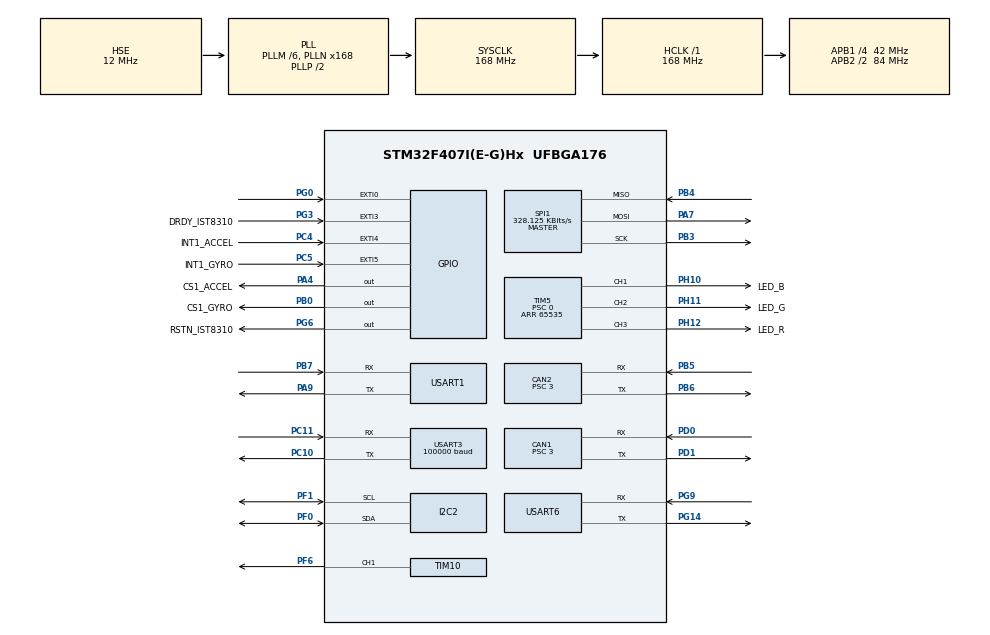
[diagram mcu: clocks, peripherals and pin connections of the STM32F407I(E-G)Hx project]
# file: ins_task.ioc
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CAN1.BS1=CAN_BS1_10TQ
CAN1.BS2=CAN_BS2_3TQ
CAN1.CalculateBaudRate=1000000
CAN1.CalculateTimeBit=1000
CAN1.CalculateTimeQuantum=71.42857142857143
CAN1.Prescaler=3
CAN2.BS1=CAN_BS1_10TQ
CAN2.BS2=CAN_BS2_3TQ
CAN2.CalculateBaudRate=1000000
CAN2.CalculateTimeBit=1000
CAN2.CalculateTimeQuantum=71.42857142857143
CAN2.Prescaler=3
Dma.Request0=SPI1_RX
Dma.Request1=SPI1_TX
Dma.Request2=USART3_RX
Dma.Request3=USART1_RX
Dma.Request4=USART1_TX
Dma.Request5=USART6_RX
Dma.Request6=USART6_TX
Dma.SPI1_RX.0.Direction=DMA_PERIPH_TO_MEMORY
Dma.SPI1_RX.0.FIFOMode=DMA_FIFOMODE_DISABLE
Dma.SPI1_RX.0.Instance=DMA2_Stream2
Dma.SPI1_RX.0.MemDataAlignment=DMA_MDATAALIGN_BYTE
Dma.SPI1_RX.0.MemInc=DMA_MINC_ENABLE
Dma.SPI1_RX.0.Mode=DMA_NORMAL
Dma.SPI1_RX.0.PeriphDataAlignment=DMA_PDATAALIGN_BYTE
Dma.SPI1_RX.0.PeriphInc=DMA_PINC_DISABLE
Dma.SPI1_RX.0.Priority=DMA_PRIORITY_VERY_HIGH
Dma.SPI1_TX.1.Direction=DMA_MEMORY_TO_PERIPH
Dma.SPI1_TX.1.FIFOMode=DMA_FIFOMODE_DISABLE
Dma.SPI1_TX.1.Instance=DMA2_Stream3
Dma.SPI1_TX.1.MemDataAlignment=DMA_MDATAALIGN_BYTE
Dma.SPI1_TX.1.MemInc=DMA_MINC_ENABLE
Dma.SPI1_TX.1.Mode=DMA_NORMAL
Dma.SPI1_TX.1.PeriphDataAlignment=DMA_PDATAALIGN_BYTE
Dma.SPI1_TX.1.PeriphInc=DMA_PINC_DISABLE
Dma.SPI1_TX.1.Priority=DMA_PRIORITY_HIGH
Dma.USART1_RX.3.Direction=DMA_PERIPH_TO_MEMORY
Dma.USART1_RX.3.FIFOMode=DMA_FIFOMODE_DISABLE
Dma.USART1_RX.3.Instance=DMA2_Stream5
Dma.USART1_RX.3.MemDataAlignment=DMA_MDATAALIGN_BYTE
Dma.USART1_RX.3.MemInc=DMA_MINC_ENABLE
Dma.USART1_RX.3.Mode=DMA_NORMAL
Dma.USART1_RX.3.PeriphDataAlignment=DMA_PDATAALIGN_BYTE
Dma.USART1_RX.3.PeriphInc=DMA_PINC_DISABLE
Dma.USART1_RX.3.Priority=DMA_PRIORITY_LOW
Dma.USART1_TX.4.Direction=DMA_MEMORY_TO_PERIPH
Dma.USART1_TX.4.FIFOMode=DMA_FIFOMODE_DISABLE
Dma.USART1_TX.4.Instance=DMA2_Stream7
Dma.USART1_TX.4.MemDataAlignment=DMA_MDATAALIGN_BYTE
Dma.USART1_TX.4.MemInc=DMA_MINC_ENABLE
Dma.USART1_TX.4.Mode=DMA_NORMAL
Dma.USART1_TX.4.PeriphDataAlignment=DMA_PDATAALIGN_BYTE
Dma.USART1_TX.4.PeriphInc=DMA_PINC_DISABLE
Dma.USART1_TX.4.Priority=DMA_PRIORITY_LOW
Dma.USART3_RX.2.Direction=DMA_PERIPH_TO_MEMORY
Dma.USART3_RX.2.FIFOMode=DMA_FIFOMODE_DISABLE
Dma.USART3_RX.2.Instance=DMA1_Stream1
Dma.USART3_RX.2.MemDataAlignment=DMA_MDATAALIGN_BYTE
Dma.USART3_RX.2.MemInc=DMA_MINC_ENABLE
Dma.USART3_RX.2.Mode=DMA_CIRCULAR
Dma.USART3_RX.2.PeriphDataAlignment=DMA_PDATAALIGN_BYTE
Dma.USART3_RX.2.PeriphInc=DMA_PINC_DISABLE
Dma.USART3_RX.2.Priority=DMA_PRIORITY_VERY_HIGH
Dma.USART6_RX.5.Direction=DMA_PERIPH_TO_MEMORY
Dma.USART6_RX.5.FIFOMode=DMA_FIFOMODE_DISABLE
Dma.USART6_RX.5.Instance=DMA2_Stream1
Dma.USART6_RX.5.MemDataAlignment=DMA_MDATAALIGN_BYTE
Dma.USART6_RX.5.MemInc=DMA_MINC_ENABLE
Dma.USART6_RX.5.Mode=DMA_NORMAL
Dma.USART6_RX.5.PeriphDataAlignment=DMA_PDATAALIGN_BYTE
Dma.USART6_RX.5.PeriphInc=DMA_PINC_DISABLE
Dma.USART6_RX.5.Priority=DMA_PRIORITY_LOW
Dma.USART6_TX.6.Direction=DMA_MEMORY_TO_PERIPH
Dma.USART6_TX.6.FIFOMode=DMA_FIFOMODE_DISABLE
Dma.USART6_TX.6.Instance=DMA2_Stream6
Dma.USART6_TX.6.MemDataAlignment=DMA_MDATAALIGN_BYTE
Dma.USART6_TX.6.MemInc=DMA_MINC_ENABLE
Dma.USART6_TX.6.Mode=DMA_NORMAL
Dma.USART6_TX.6.PeriphDataAlignment=DMA_PDATAALIGN_BYTE
Dma.USART6_TX.6.PeriphInc=DMA_PINC_DISABLE
Dma.USART6_TX.6.Priority=DMA_PRIORITY_LOW
FREERTOS.INCLUDE_eTaskGetState=1
FREERTOS.INCLUDE_pcTaskGetTaskName=1
FREERTOS.INCLUDE_uxTaskGetStackHighWaterMark=1
FREERTOS.INCLUDE_vTaskCleanUpResources=1
FREERTOS.INCLUDE_vTaskDelayUntil=1
FREERTOS.INCLUDE_xEventGroupSetBitFromISR=1
FREERTOS.INCLUDE_xQueueGetMutexHolder=1
FREERTOS.INCLUDE_xSemaphoreGetMutexHolder=1
FREERTOS.INCLUDE_xTaskAbortDelay=1
FREERTOS.INCLUDE_xTaskGetCurrentTaskHandle=1
FREERTOS.INCLUDE_xTaskGetHandle=1
FREERTOS.INCLUDE_xTimerPendFunctionCall=1
FREERTOS.Tasks01=test,24,128,test_task,As weak,NULL,Dynamic,NULL,NULL
FREERTOS.configTOTAL_HEAP_SIZE=24576
I2C2.I2C_Mode=I2C_Fast
Mcu.Family=STM32F4
Mcu.Name=STM32F407I(E-G)Hx
Mcu.Package=UFBGA176
NVIC.CAN1_RX0_IRQn=true\:5\:0\:false\:false\:true\:true\:true\:true\:true
NVIC.CAN2_RX0_IRQn=true\:5\:0\:false\:false\:true\:true\:true\:true\:true
NVIC.DMA1_Stream1_IRQn=true\:5\:0\:false\:false\:true\:true\:false\:true\:true
NVIC.DMA2_Stream1_IRQn=true\:5\:0\:false\:false\:true\:true\:false\:true\:true
NVIC.DMA2_Stream2_IRQn=true\:5\:0\:true\:false\:false\:true\:false\:true\:true
NVIC.DMA2_Stream3_IRQn=true\:5\:0\:true\:false\:false\:true\:false\:true\:true
NVIC.DMA2_Stream5_IRQn=true\:5\:0\:false\:false\:true\:true\:false\:true\:true
NVIC.DMA2_Stream6_IRQn=true\:5\:0\:false\:false\:true\:true\:false\:true\:true
NVIC.DMA2_Stream7_IRQn=true\:5\:0\:false\:false\:true\:true\:false\:true\:true
NVIC.EXTI0_IRQn=true\:6\:0\:true\:false\:true\:true\:true\:true\:true
NVIC.EXTI3_IRQn=true\:5\:0\:true\:false\:true\:true\:true\:true\:true
NVIC.EXTI4_IRQn=true\:5\:0\:true\:false\:true\:true\:true\:true\:true
NVIC.EXTI9_5_IRQn=true\:5\:0\:true\:false\:true\:true\:true\:true\:true
NVIC.PriorityGroup=NVIC_PRIORITYGROUP_4
NVIC.USART1_IRQn=true\:5\:0\:false\:false\:true\:true\:true\:true\:true
NVIC.USART3_IRQn=true\:5\:0\:false\:false\:true\:true\:true\:true\:true
NVIC.USART6_IRQn=true\:5\:0\:false\:false\:true\:true\:true\:true\:true
PA13.Mode=Serial_Wire
PA13.Signal=SYS_JTMS-SWDIO
PA14.Mode=Serial_Wire
PA14.Signal=SYS_JTCK-SWCLK
PA4.GPIO_Label=CS1_ACCEL
PA4.GPIO_PuPd=GPIO_PULLUP
PA4.GPIO_Speed=GPIO_SPEED_FREQ_HIGH
PA4.PinState=GPIO_PIN_SET
PA4.Signal=GPIO_Output
PA7.GPIO_PuPd=GPIO_PULLUP
PA7.Mode=Full_Duplex_Master
PA7.Signal=SPI1_MOSI
PA9.Mode=Asynchronous
PA9.Signal=USART1_TX
PB0.GPIO_Label=CS1_GYRO
PB0.GPIO_PuPd=GPIO_PULLUP
PB0.GPIO_Speed=GPIO_SPEED_FREQ_HIGH
PB0.PinState=GPIO_PIN_SET
PB0.Signal=GPIO_Output
PB3.GPIO_PuPd=GPIO_PULLUP
PB3.Mode=Full_Duplex_Master
PB3.Signal=SPI1_SCK
PB4.GPIO_PuPd=GPIO_PULLUP
PB4.Mode=Full_Duplex_Master
PB4.Signal=SPI1_MISO
PB5.Mode=CAN_Activate
PB5.Signal=CAN2_RX
PB6.Mode=CAN_Activate
PB6.Signal=CAN2_TX
PB7.Mode=Asynchronous
PB7.Signal=USART1_RX
PC10.Mode=Asynchronous
PC10.Signal=USART3_TX
PC11.Mode=Asynchronous
PC11.Signal=USART3_RX
PC4.GPIO_Label=INT1_ACCEL
PC4.GPIO_ModeDefaultEXTI=GPIO_MODE_IT_FALLING
PC4.GPIO_PuPd=GPIO_PULLUP
PC4.Signal=GPXTI4
PC5.GPIO_Label=INT1_GYRO
PC5.GPIO_ModeDefaultEXTI=GPIO_MODE_IT_FALLING
PC5.GPIO_PuPd=GPIO_PULLUP
PC5.Signal=GPXTI5
PC9.GPIO_Pu=GPIO_PULLUP
PC9.Signal=I2C3_SDA
PD0.Mode=CAN_Activate
PD0.Signal=CAN1_RX
PD1.Mode=CAN_Activate
PD1.Signal=CAN1_TX
PF0.Mode=I2C
PF0.Signal=I2C2_SDA
PF1.Mode=I2C
PF1.Signal=I2C2_SCL
PF6.GPIO_PuPd=GPIO_PULLUP
PF6.GPIO_Speed=GPIO_SPEED_FREQ_HIGH
PF6.Signal=S_TIM10_CH1
PG0.GPIO_ModeDefaultEXTI=GPIO_MODE_IT_FALLING
PG0.GPIO_PuPd=GPIO_PULLUP
PG0.Signal=GPXTI0
PG14.Mode=Asynchronous
PG14.Signal=USART6_TX
PG3.GPIO_Label=DRDY_IST8310
PG3.GPIO_ModeDefaultEXTI=GPIO_MODE_IT_FALLING
PG3.GPIO_PuPd=GPIO_PULLUP
PG3.Signal=GPXTI3
PG6.GPIO_Label=RSTN_IST8310
PG6.GPIO_PuPd=GPIO_PULLUP
PG6.GPIO_Speed=GPIO_SPEED_FREQ_MEDIUM
PG6.PinState=GPIO_PIN_SET
PG6.Signal=GPIO_Output
PG9.Mode=Asynchronous
PG9.Signal=USART6_RX
PH0-OSC_IN.Mode=HSE-External-Oscillator
PH0-OSC_IN.Signal=RCC_OSC_IN
PH1-OSC_OUT.Mode=HSE-External-Oscillator
PH1-OSC_OUT.Signal=RCC_OSC_OUT
PH10.GPIO_Label=LED_B
PH10.GPIO_PuPd=GPIO_PULLUP
PH10.GPIO_Speed=GPIO_SPEED_FREQ_HIGH
PH10.Signal=S_TIM5_CH1
PH11.GPIO_Label=LED_G
PH11.GPIO_PuPd=GPIO_PULLUP
PH11.GPIO_Speed=GPIO_SPEED_FREQ_HIGH
PH11.Signal=S_TIM5_CH2
PH12.GPIO_Label=LED_R
PH12.GPIO_PuPd=GPIO_PULLUP
PH12.GPIO_Speed=GPIO_SPEED_FREQ_HIGH
PH12.Signal=S_TIM5_CH3
ProjectManager.HeapSize=0x2000
ProjectManager.StackSize=0x2000
ProjectManager.TargetToolchain=CMake
RCC.48MHZClocksFreq_Value=48000000
RCC.AHBFreq_Value=168000000
RCC.APB1CLKDivider=RCC_HCLK_DIV4
RCC.APB1Freq_Value=42000000
RCC.APB1TimFreq_Value=84000000
RCC.APB2CLKDivider=RCC_HCLK_DIV2
RCC.APB2Freq_Value=84000000
RCC.APB2TimFreq_Value=168000000
RCC.CortexFreq_Value=168000000
RCC.HCLKFreq_Value=168000000
RCC.HSE_VALUE=12000000
RCC.HSI_VALUE=16000000
RCC.LSE_VALUE=32768
RCC.PLLM=6
RCC.PLLN=168
RCC.PLLQ=7
RCC.PLLSourceVirtual=RCC_PLLSOURCE_HSE
RCC.RCC_RTC_Clock_SourceVirtual=RCC_RTCCLKSOURCE_HSE_DIV30
RCC.RCC_RTC_Clock_Source_FROM_HSE=RCC_RTCCLKSOURCE_HSE_DIV30
RCC.SYSCLKFreq_VALUE=168000000
RCC.SYSCLKSource=RCC_SYSCLKSOURCE_PLLCLK
RCC.VCOOutputFreq_Value=336000000
SH.S_TIM10_CH1.0=TIM10_CH1,PWM Generation1 CH1
SH.S_TIM5_CH1.0=TIM5_CH1,PWM Generation1 CH1
SH.S_TIM5_CH2.0=TIM5_CH2,PWM Generation2 CH2
SH.S_TIM5_CH3.0=TIM5_CH3,PWM Generation3 CH3
SPI1.BaudRatePrescaler=SPI_BAUDRATEPRESCALER_256
SPI1.CLKPhase=SPI_PHASE_2EDGE
SPI1.CLKPolarity=SPI_POLARITY_HIGH
SPI1.CalculateBaudRate=328.125 KBits/s
SPI1.Direction=SPI_DIRECTION_2LINES
SPI1.Mode=SPI_MODE_MASTER
SPI1.VirtualType=VM_MASTER
STMicroelectronics.X-CUBE-ALGOBUILD.1.4.0.LibraryCcDSPOoLibraryJjDSPOoLibrary=true
TIM10.Channel=TIM_CHANNEL_1
TIM10.Period=4999
TIM5.Channel-PWM\ Generation1\ CH1=TIM_CHANNEL_1
TIM5.Channel-PWM\ Generation2\ CH2=TIM_CHANNEL_2
TIM5.Channel-PWM\ Generation3\ CH3=TIM_CHANNEL_3
TIM5.Period=65535
TIM5.Prescaler=0
USART1.VirtualMode=VM_ASYNC
USART3.BaudRate=100000
USART3.Mode=MODE_RX
USART3.Parity=PARITY_EVEN
USART3.VirtualMode=VM_ASYNC
USART6.VirtualMode=VM_ASYNC
VP_FREERTOS_VS_CMSIS_V1.Mode=CMSIS_V1
VP_STMicroelectronics.X-CUBE-ALGOBUILD_VS_DSPOoLibraryJjLibrary_1.4.0_1.4.0.Mode=DSPOoLibraryJjLibrary
VP_TIM10_VS_ClockSourceINT.Mode=Enable_Timer
VP_TIM5_VS_ClockSourceINT.Mode=Internal
board=custom

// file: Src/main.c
/* USER CODE BEGIN Header */
/**
  ******************************************************************************
  * @file           : main.c
  * @brief          : Main program body
  ******************************************************************************
  * @attention
  *
  * <h2><center>&copy; Copyright (c) 2019 STMicroelectronics.
  * All rights reserved.</center></h2>
  *
  * This software component is licensed by ST under Ultimate Liberty license
  * SLA0044, the "License"; You may not use this file except in compliance with
  * the License. You may obtain a copy of the License at:
  *                             www.st.com/SLA0044
  *
  ******************************************************************************
  */
/* USER CODE END Header */
#include "main.h"
#include "cmsis_os.h"
#include "can.h"
#include "dma.h"
#include "i2c.h"
#include "spi.h"
#include "tim.h"
#include "usart.h"
#include "gpio.h"

/* USER CODE BEGIN Includes */
#include "bsp_delay.h"
#include "../Inc/all_tou_h.h"
#include "remote_control.h"
#include "power_management/referee.h"
/* USER CODE END Includes */

void SystemClock_Config(void);
void MX_FREERTOS_Init(void);

int main(void)
{

  /* MCU Configuration--------------------------------------------------------*/

  /* Reset of all peripherals, Initializes the Flash interface and the Systick. */
  HAL_Init();

  /* Configure the system clock */
  SystemClock_Config();

  /* Initialize all configured peripherals */
  MX_GPIO_Init();
  MX_DMA_Init();
  MX_SPI1_Init();
  MX_TIM5_Init();
  MX_TIM10_Init();
  MX_USART6_UART_Init();
  MX_CAN1_Init();
  MX_CAN2_Init();
  MX_I2C2_Init();
  MX_USART3_UART_Init();
  MX_USART1_UART_Init();
  /* USER CODE BEGIN 2 */
  Referee_Init();
  // remote_control_init();
  can_filter_init();

    delay_init();
  /* USER CODE END 2 */

  /* Call init function for freertos objects (in cmsis_os2.c) */
  MX_FREERTOS_Init();

  /* Start scheduler */
  osKernelStart();

  /* We should never get here as control is now taken by the scheduler */

  /* Infinite loop */
  while (1)
  {

  }
}

void SystemClock_Config(void)
{
  RCC_OscInitTypeDef RCC_OscInitStruct = {0};
  RCC_ClkInitTypeDef RCC_ClkInitStruct = {0};

  /** Configure the main internal regulator output voltage
  */
  __HAL_RCC_PWR_CLK_ENABLE();
  __HAL_PWR_VOLTAGESCALING_CONFIG(PWR_REGULATOR_VOLTAGE_SCALE1);

  /** Initializes the RCC Oscillators according to the specified parameters
  * in the RCC_OscInitTypeDef structure.
  */
  RCC_OscInitStruct.OscillatorType = RCC_OSCILLATORTYPE_HSE;
  RCC_OscInitStruct.HSEState = RCC_HSE_ON;
  RCC_OscInitStruct.PLL.PLLState = RCC_PLL_ON;
  RCC_OscInitStruct.PLL.PLLSource = RCC_PLLSOURCE_HSE;
  RCC_OscInitStruct.PLL.PLLM = 6;
  RCC_OscInitStruct.PLL.PLLN = 168;
  RCC_OscInitStruct.PLL.PLLP = RCC_PLLP_DIV2;
  RCC_OscInitStruct.PLL.PLLQ = 7;
  if (HAL_RCC_OscConfig(&RCC_OscInitStruct) != HAL_OK)
  {
    Error_Handler();
  }

  /** Initializes the CPU, AHB and APB buses clocks
  */
  RCC_ClkInitStruct.ClockType = RCC_CLOCKTYPE_HCLK|RCC_CLOCKTYPE_SYSCLK
                              |RCC_CLOCKTYPE_PCLK1|RCC_CLOCKTYPE_PCLK2;
  RCC_ClkInitStruct.SYSCLKSource = RCC_SYSCLKSOURCE_PLLCLK;
  RCC_ClkInitStruct.AHBCLKDivider = RCC_SYSCLK_DIV1;
  RCC_ClkInitStruct.APB1CLKDivider = RCC_HCLK_DIV4;
  RCC_ClkInitStruct.APB2CLKDivider = RCC_HCLK_DIV2;

  if (HAL_RCC_ClockConfig(&RCC_ClkInitStruct, FLASH_LATENCY_5) != HAL_OK)
  {
    Error_Handler();
  }
}

void Error_Handler(void)
{
}

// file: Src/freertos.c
/* USER CODE BEGIN Header */
/**
  ******************************************************************************
  * File Name          : freertos.c
  * Description        : Code for freertos applications
  ******************************************************************************
  * @attention
  *
  * <h2><center>&copy; Copyright (c) 2019 STMicroelectronics.
  * All rights reserved.</center></h2>
  *
  * This software component is licensed by ST under Ultimate Liberty license
  * SLA0044, the "License"; You may not use this file except in compliance with
  * the License. You may obtain a copy of the License at:
  *                             www.st.com/SLA0044
  *
  ******************************************************************************
  */
/* USER CODE END Header */

#include "FreeRTOS.h"
#include "task.h"
#include "main.h"
#include "cmsis_os.h"

/* USER CODE BEGIN Includes */

#include "chassis_task.h"
#include "INS_task.h"
#include "bmi088_date_send.h"
#include "gimbal_i6x_date.h"
#include "trigger_task.h"
#include "yaw_motor_task.h"
#include "yaw_motor/yaw_motor_task.h"
#include "rm_ui_protocol.h"
#include "CAN_receive.h"          // get_vtx_can2_point() -> 图传键鼠数据
#include "usart_printf_task.h"   // usart_printf()

/* USER CODE END Includes */

/* USER CODE BEGIN PTD */

osThreadId imuTaskHandle;
osThreadId led_RGB_flow_handle;

osThreadId send_taskHandle;
osThreadId chassisTaskHandle;
osThreadId GimbalI6xDateTaskHandle;
osThreadId gimbalImuDateTaskHandle;
osThreadId UiTaskHandle;
osThreadId Yaw_Motor_TaskTaskHandle;
osThreadId debugPrintTaskHandle;
/* USER CODE END PTD */

osThreadId testHandle;

void test_task(void const * argument);

void debug_print_task(void const * argument);

void MX_FREERTOS_Init(void); /* (MISRA C 2004 rule 8.1) */

/* GetIdleTaskMemory prototype (linked to static allocation support) */
void vApplicationGetIdleTaskMemory( StaticTask_t **ppxIdleTaskTCBBuffer, StackType_t **ppxIdleTaskStackBuffer, uint32_t *pulIdleTaskStackSize );

/* GetTimerTaskMemory prototype (linked to static allocation support) */
void vApplicationGetTimerTaskMemory( StaticTask_t **ppxTimerTaskTCBBuffer, StackType_t **ppxTimerTaskStackBuffer, uint32_t *pulTimerTaskStackSize );

/* USER CODE BEGIN GET_IDLE_TASK_MEMORY */
static StaticTask_t xIdleTaskTCBBuffer;
static StackType_t xIdleStack[configMINIMAL_STACK_SIZE];

void vApplicationGetIdleTaskMemory( StaticTask_t **ppxIdleTaskTCBBuffer, StackType_t **ppxIdleTaskStackBuffer, uint32_t *pulIdleTaskStackSize )
{
  *ppxIdleTaskTCBBuffer = &xIdleTaskTCBBuffer;
  *ppxIdleTaskStackBuffer = &xIdleStack[0];
  *pulIdleTaskStackSize = configMINIMAL_STACK_SIZE;
  /* place for user code */
}
/* USER CODE END GET_IDLE_TASK_MEMORY */

/* USER CODE BEGIN GET_TIMER_TASK_MEMORY */
static StaticTask_t xTimerTaskTCBBuffer;
static StackType_t xTimerStack[configTIMER_TASK_STACK_DEPTH];

void vApplicationGetTimerTaskMemory( StaticTask_t **ppxTimerTaskTCBBuffer, StackType_t **ppxTimerTaskStackBuffer, uint32_t *pulTimerTaskStackSize )
{
  *ppxTimerTaskTCBBuffer = &xTimerTaskTCBBuffer;
  *ppxTimerTaskStackBuffer = &xTimerStack[0];
  *pulTimerTaskStackSize = configTIMER_TASK_STACK_DEPTH;
  /* place for user code */
}
/* USER CODE END GET_TIMER_TASK_MEMORY */

void MX_FREERTOS_Init(void) {

  /* Create the thread(s) */
  /* definition and creation of test */
  // osThreadDef(test, test_task, osPriorityNormal, 0, 128);
  // testHandle = osThreadCreate(osThread(test), NULL);

  /* USER CODE BEGIN RTOS_THREADS */
  /* add threads, ... */
  osThreadDef(imuTask, INS_task, osPriorityNormal  , 0, 1024);
  imuTaskHandle = osThreadCreate(osThread(imuTask), NULL);

  osThreadDef(ChassisTask, chassis_task, osPriorityNormal , 0, 1024);
  chassisTaskHandle = osThreadCreate(osThread(ChassisTask), NULL);

  osThreadDef(sendTask, imu_date_send_task, osPriorityNormal, 0, 256);
  send_taskHandle = osThreadCreate(osThread(sendTask), NULL);

  // osThreadDef(gimbalImuDateTask,gimbal_receive_task, osPriorityNormal, 0, 64);
  // gimbalImuDateTaskHandle = osThreadCreate(osThread(gimbalImuDateTask), NULL);

  osThreadDef(Yaw_Motor_Task,Yaw_Motor_Task,osPriorityNormal , 0,1024);
  Yaw_Motor_TaskTaskHandle = osThreadCreate(osThread(Yaw_Motor_Task), NULL);

  /* 裁判系统解析 + 10Hz 下发云台（实现见 power_management/referee.c） */
  osThreadDef(GimbalI6xDateTask, ix6_CanDate_task, osPriorityNormal, 0, 256);
  GimbalI6xDateTaskHandle = osThreadCreate(osThread(GimbalI6xDateTask), NULL);

  /* 裁判系统 UI 绘制状态机（实现见 rm_ui_protocol.c） */
  osThreadDef(uiTask, ui_task, osPriorityNormal, 0, 256);
  UiTaskHandle = osThreadCreate(osThread(uiTask), NULL);

  /* 【调试打印】底盘板验证图传键鼠数据，走 USART2(PA2 TX)。
     阻塞打印低频(20Hz)，优先级 Normal 即可，不影响底盘控制任务 */
  osThreadDef(DebugPrintTask, debug_print_task, osPriorityNormal, 0, 512);
  debugPrintTaskHandle = osThreadCreate(osThread(DebugPrintTask), NULL);
  /* USER CODE END RTOS_THREADS */

}

__weak void test_task(void const * argument)
{
  for(;;)
  {
    osDelay(1);
  }
}

/* =====================================================================
 * 【调试打印任务】只打印图传键鼠数据（WASD + 鼠标）
 *  - 数据源：get_vtx_can2_point()（云台板 -> 底盘板 CAN2 透传的图传数据）
 *  - 输出口：USART1（PA9 TX，115200），用 usart_printf（DMA 非阻塞）
 *  - 频率：50ms 一次（20Hz）
 * ===================================================================== */
void debug_print_task(void const * argument)
{
  const vtx_can2_t *vtx = NULL;
  extern volatile uint32_t dbg_rx_312_cnt;
  extern volatile uint32_t dbg_rx_313_cnt;
  extern volatile uint32_t dbg_rx_314_cnt;
  extern volatile uint32_t dbg_rx_can2_total;
  (void)argument;

  for(;;)
  {
    vtx = get_vtx_can2_point();

    /* 解析 WASD：key 位定义 W=bit0 S=bit1 A=bit2 D=bit3 */
    int w = (vtx->key >> 0) & 0x01;
    int s = (vtx->key >> 1) & 0x01;
    int a = (vtx->key >> 2) & 0x01;
    int d = (vtx->key >> 3) & 0x01;

    /* 只打印 WASD 键盘 + 鼠标移动 + 鼠标按键 */
    usart_printf("W%d S%d A%d D%d | M %d,%d,%d | B %d%d%d | RX 312:%u 313:%u 314:%u TOT:%u\n",
                 w, s, a, d,
                 vtx->mouse_x, vtx->mouse_y, vtx->mouse_z,
                 vtx->mouse_left, vtx->mouse_right, vtx->mouse_middle,
                 (unsigned)dbg_rx_312_cnt, (unsigned)dbg_rx_313_cnt,
                 (unsigned)dbg_rx_314_cnt, (unsigned)dbg_rx_can2_total);

    osDelay(50);
  }
}
